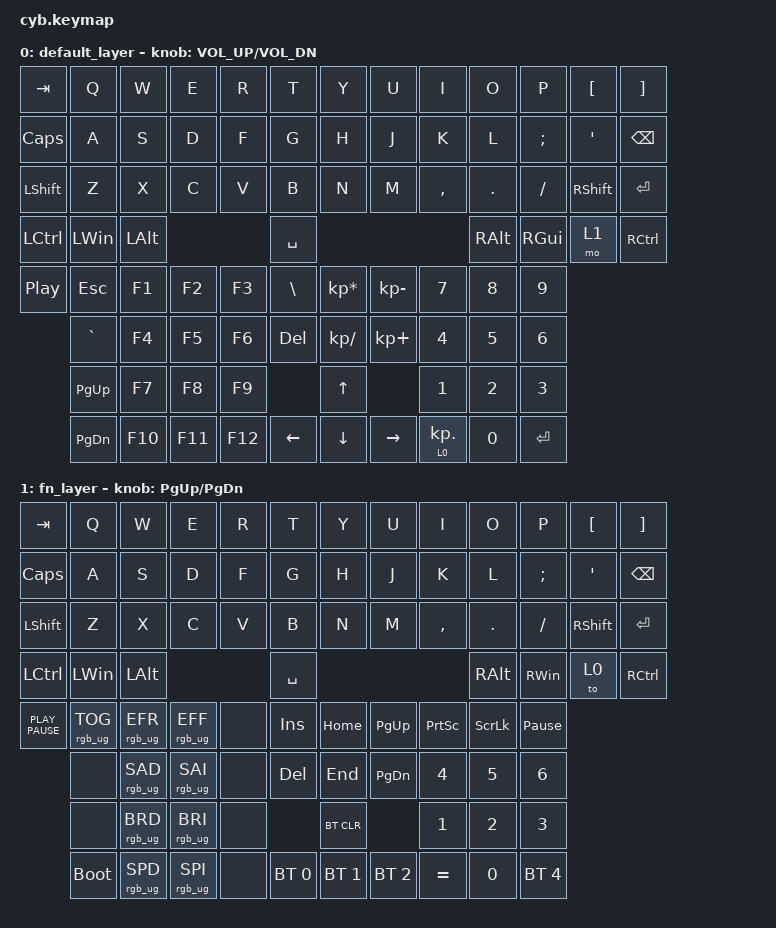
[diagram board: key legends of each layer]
/*
 * Copyright (c) 2020 The ZMK Contributors
 *
 * SPDX-License-Identifier: MIT
 */

#include <behaviors.dtsi>
#include <dt-bindings/zmk/bt.h>
#include <dt-bindings/zmk/keys.h>
#include <dt-bindings/zmk/rgb.h>

/ {
    keymap0: keymap {
        compatible = "zmk,keymap";

        default_layer {
            // --------------------------------------------------------------------------------------------------------------------------------------------------------------
            //  | TAB  |  Q  |  W  |  E  |  R  |  T  |  Y  |  U  |  I  |  O  |  P  |     [    |   ]   |
            //  | CAPS  |  A  |  S  |  D  |  F  |  G  |  H  |  J  |  K  |  L  |  ;  |     '   |  BKSP |
            //  |  SHIFT  |  Z  |  X  |  C  |  V  |  B  |  N  |  M  |  ,  |  .  |  /  | SHIFT |   1   |
            //  |  CTL  |  fn  |  ALT  |           SPACE              |  ALT  |  CTL  |   1   |   1   |
            //  |  1  ||  1  ||  2  |  3  |   4  ||  5  |  6  |  7  ||  8  |  9  |  1  |
            //         |  1  ||  2  |  3  |   4  ||  5  |  6  |  7  ||  8  |  9  |  1  |
            //         |  1  ||  2  |  3  |   4  |      |  6  |      |  8  |  9  |  1  |
            //         |  1  ||  2  |  3  |   4  ||  5  |  6  |  7  ||  8  |  9  |  1  |
            // --------------------------------------------------------------------------------------------------------------------------------------------------------------

            bindings = <
&kp TAB           &kp Q          &kp W         &kp E    &kp R    &kp T          &kp Y            &kp U         &kp I         &kp O          &kp P          &kp LBKT   &kp RBKT
&kp CLCK          &kp A          &kp S         &kp D    &kp F    &kp G          &kp H            &kp J         &kp K         &kp L          &kp SEMI       &kp SQT    &kp BSPC
&kp LEFT_SHIFT    &kp Z          &kp X         &kp C    &kp V    &kp B          &kp N            &kp M         &kp COMMA     &kp DOT        &kp FSLH       &kp RSHFT  &kp ENTER
&kp LCTRL         &kp LEFT_WIN   &kp LEFT_ALT                    &kp SPACE                                                   &kp RIGHT_ALT  &kp RIGHT_GUI  &mo 1      &kp RCTRL
&kp C_PLAY_PAUSE  &kp ESC        &kp F1        &kp F2   &kp F3   &kp BACKSLASH  &kp KP_MULTIPLY  &kp KP_MINUS  &kp N7        &kp N8         &kp N9
                  &kp GRAVE      &kp F4        &kp F5   &kp F6   &kp DELETE     &kp KP_DIVIDE    &kp KP_PLUS   &kp NUMBER_4  &kp N5         &kp N6
                  &kp PAGE_UP    &kp F7        &kp F8   &kp F9                  &kp UP                         &kp N1        &kp N2         &kp N3
                  &kp PAGE_DOWN  &kp F10       &kp F11  &kp F12  &kp LEFT       &kp DOWN         &kp RIGHT     &lt 0 KP_DOT  &kp N0         &kp ENTER
            >;

            // 定义旋钮

            sensor-bindings = <&inc_dec_kp C_VOL_UP C_VOL_DN>;

            // 定义旋钮
        };

        fn_layer {
            // --------------------------------------------------------------------------------------------------------------------------------------------------------------
            //  | TAB  |  Q  |  W  |  E  |  R  |  T  |  Y  |  U  |  I  |  O  |  P  |     [    |   ]   |
            //  | CAPS  |  A  |  S  |  D  |  F  |  G  |  H  |  J  |  K  |  L  |  ;  |     '   |  BKSP |
            //  |  SHIFT  |  Z  |  X  |  C  |  V  |  B  |  N  |  M  |  ,  |  .  |  /  | SHIFT |   1   |
            //  |  CTL  |  fn  |  ALT  |           SPACE              |  ALT  |  CTL  |   1   |   1   |
            //  |  1  ||  2  ||  2  |  3  |   4  ||  5  |  6  |  7  ||  8  |  9  |  1  |
            //         |  1  ||  2  |  3  |   4  ||  5  |  6  |  7  ||  8  |  9  |  1  |
            //         |  1  ||  2  |  3  |   4  |      |  6  |      |  8  |  9  |  1  |
            //         |  1  ||  2  |  3  |   4  ||  5  |  6  |  7  ||  8  |  9  |  1  |
            // --------------------------------------------------------------------------------------------------------------------------------------------------------------

            bindings = <
&kp TAB           &kp Q            &kp W            &kp E            &kp R  &kp T         &kp Y         &kp U          &kp I            &kp O           &kp P            &kp LBKT   &kp RBKT
&kp CLCK          &kp A            &kp S            &kp D            &kp F  &kp G         &kp H         &kp J          &kp K            &kp L           &kp SEMI         &kp SQT    &kp BSPC
&kp LSHFT         &kp Z            &kp X            &kp C            &kp V  &kp B         &kp N         &kp M          &kp COMMA        &kp DOT         &kp FSLH         &kp RSHFT  &kp ENTER
&kp LCTRL         &kp LEFT_WIN     &kp LALT                                 &kp SPACE                                                   &kp RALT        &kp RWIN         &to 0      &kp RIGHT_CONTROL
&kp K_PLAY_PAUSE  &rgb_ug RGB_TOG  &rgb_ug RGB_EFR  &rgb_ug RGB_EFF  &none  &kp INS       &kp HOME      &kp PAGE_UP    &kp PRINTSCREEN  &kp SCROLLLOCK  &kp PAUSE_BREAK
                  &none            &rgb_ug RGB_SAD  &rgb_ug RGB_SAI  &none  &kp DELETE    &kp END       &kp PAGE_DOWN  &kp N4           &kp N5          &kp N6
                  &none            &rgb_ug RGB_BRD  &rgb_ug RGB_BRI  &none                &bt BT_CLR                   &kp N1           &kp N2          &kp N3
                  &bootloader      &rgb_ug RGB_SPD  &rgb_ug RGB_SPI  &none  &bt BT_SEL 0  &bt BT_SEL 1  &bt BT_SEL 2   &kp EQUAL        &kp N0          &bt BT_SEL 4
            >;

            // 定义旋钮

            sensor-bindings = <&inc_dec_kp PAGE_UP PAGE_DOWN>;

            // 定义旋钮
        };
    };
};
